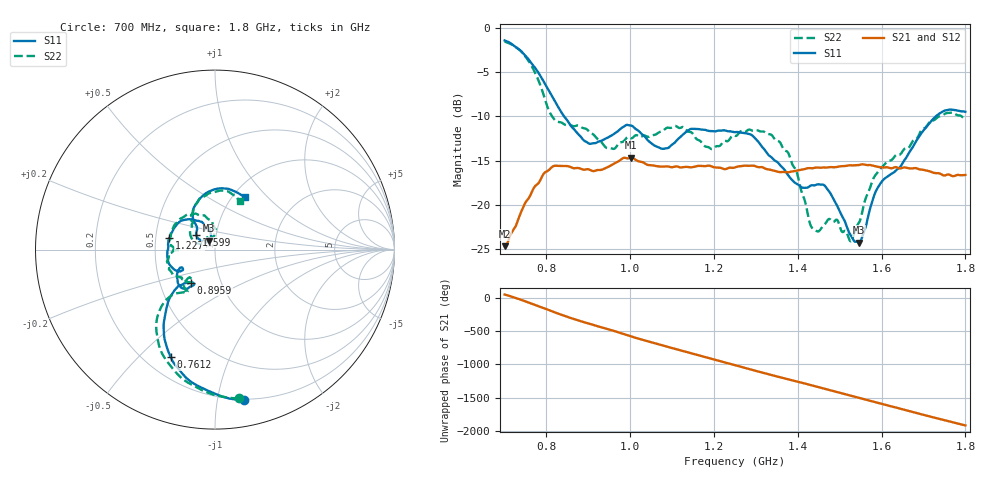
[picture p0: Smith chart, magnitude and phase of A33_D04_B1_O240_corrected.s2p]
! Created with skrf 1.9.0 (http://scikit-rf.org).
# Hz S RI R 50.0
!freq ReS11 ImS11 ReS21 ImS21 ReS12 ImS12 ReS22 ImS22
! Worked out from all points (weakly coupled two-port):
!   1601 points, 700 MHz to 1.8 GHz, reference 50 ohm
!   highest |S21| = -14.67 dB at 1.002 GHz (marker M1); lowest = -24.7 dB at 700 MHz (marker M2)
!   lowest |S11| = -24.3 dB at 1.546 GHz (marker M3), VSWR 1.13, Z = 46.4 + j4.67 ohm
!   |S11| at or under -10 dB: 842.2 MHz to 1.729 GHz (886.9 MHz wide, 69 % of centre)
!   |S22| runs from -24.2 to -1.5 dB; largest |S21 - S12| = 0.0033
!   S11 on the Smith chart (normalised r, x): 700 MHz: 0.19, -1.19; 761.2 MHz: 0.30, -0.62; 895.9 MHz: 0.72, -0.28; 1.227 GHz: 0.59, +0.08; 1.599 GHz: 0.80, +0.14; 1.8 GHz: 1.13, +0.75
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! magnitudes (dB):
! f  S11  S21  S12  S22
! 700 MHz  -1.4  -24.7  -24.5  -1.5
! 761.2 MHz  -3.8  -19.0  -18.9  -4.0
! 817.6 MHz  -8.0  -15.6  -15.7  -10.3
! 883.6 MHz  -12.4  -16.0  -15.9  -11.2
! 895.9 MHz  -12.9  -16.0  -16.1  -11.4
! 946.8 MHz  -12.4  -15.7  -15.7  -13.6
! 1.002 GHz  -11.0  -14.7  -14.8  -12.5
! 1.067 GHz  -13.5  -15.7  -15.6  -11.8
! 1.145 GHz  -11.4  -15.8  -15.8  -11.8
! 1.193 GHz  -11.7  -15.6  -15.6  -13.7
! 1.227 GHz  -11.6  -16.0  -15.9  -12.8
! 1.25 GHz  -11.8  -15.8  -15.7  -12.2
! 1.357 GHz  -15.5  -16.3  -16.2  -12.9
! 1.396 GHz  -17.6  -16.2  -16.1  -16.1
! 1.434 GHz  -17.8  -15.9  -15.8  -22.6
! 1.469 GHz  -18.2  -15.8  -15.8  -21.9
! 1.526 GHz  -23.5  -15.5  -15.5  -24.2
! 1.546 GHz  -24.3  -15.5  -15.5  -22.0
! 1.599 GHz  -17.5  -15.8  -15.7  -15.8
! 1.617 GHz  -16.7  -15.8  -15.8  -15.0
! 1.732 GHz  -9.9  -16.4  -16.4  -10.2
! 1.8 GHz  -9.5  -16.6  -16.6  -10.3
